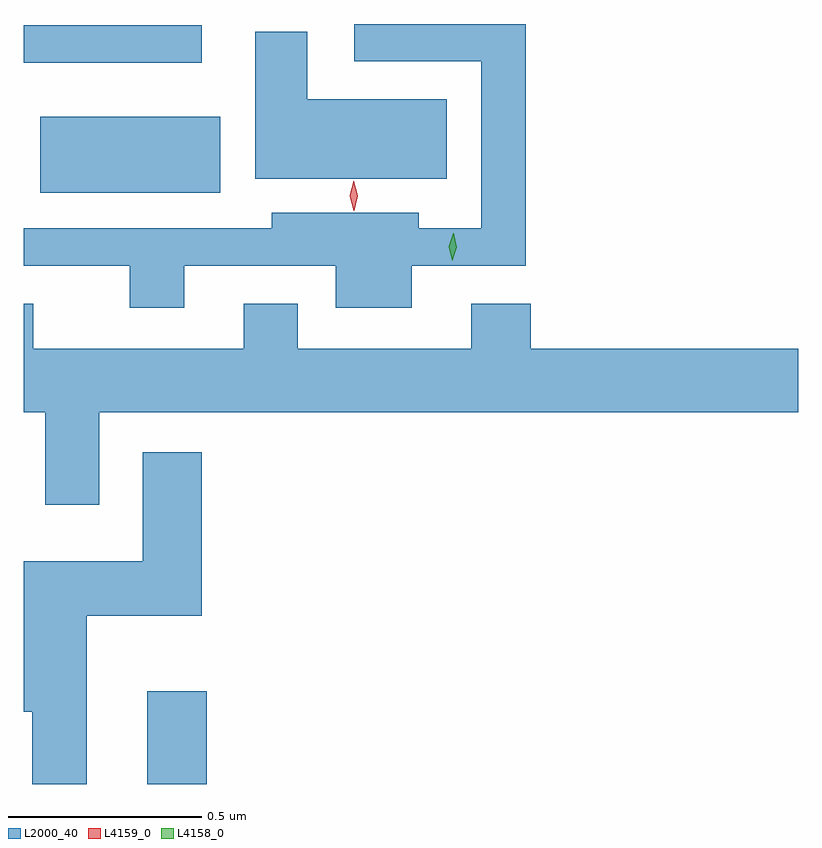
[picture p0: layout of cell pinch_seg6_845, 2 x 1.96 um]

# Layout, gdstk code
import gdstk
lib = gdstk.Library(unit=1e-6, precision=1e-09)
def R(c, l, rs):  # rectangles x0, y0, x1, y1
    for r in rs: c.add(gdstk.rectangle(r[:2], r[2:], *l))
def P(c, l, *ps):  # polygons
    for p in ps: c.add(gdstk.Polygon(p, *l))
L2000_40 = (2000, 40)
L4158_0 = (4158, 0)
L4159_0 = (4159, 0)

pinch_seg6_845 = lib.new_cell('pinch_seg6_845')
R(pinch_seg6_845, L2000_40, [(230.348,973.016,230.501,973.255), (230.072,974.543,230.536,974.74), (230.029,974.879,230.488,974.976)])
P(pinch_seg6_845, L2000_40, [(230.443,974.355),(230.834,974.355),(230.834,974.246),(231.031,974.246),(231.031,974.355),(231.326,974.355),(231.326,974.979),(230.883,974.979),(230.883,974.883),(231.21,974.883),(231.21,974.451),(231.049,974.451),(231.049,974.491),(230.669,974.491),(230.669,974.451),(230.029,974.451),(230.029,974.355),(230.303,974.355),(230.303,974.246),(230.443,974.246)],
  [(231.121,974.785),(230.761,974.785),(230.761,974.959),(230.627,974.959),(230.627,974.579),(231.121,974.579)],
  [(230.224,973.976),(232.029,973.976),(232.029,974.14),(231.338,974.14),(231.338,974.257),(231.185,974.257),(231.185,974.14),(230.737,974.14),(230.737,974.257),(230.597,974.257),(230.597,974.14),(230.053,974.14),(230.053,974.257),(230.029,974.257),(230.029,973.976),(230.084,973.976),(230.084,973.737),(230.224,973.737)],
  [(230.191,973.451),(230.489,973.451),(230.489,973.873),(230.336,973.873),(230.336,973.591),(230.029,973.591),(230.029,973.202),(230.051,973.202),(230.051,973.016),(230.191,973.016)])
P(pinch_seg6_845, L4158_0, [(231.135,974.368),(231.135,974.368),(231.127,974.404),(231.138,974.438),(231.138,974.438),(231.139,974.438),(231.147,974.403),(231.135,974.368)])
P(pinch_seg6_845, L4159_0, [(230.881,974.496),(230.871,974.535),(230.881,974.574),(230.881,974.574),(230.881,974.574),(230.891,974.535),(230.882,974.496),(230.882,974.496)])

lib.write_gds('pinch_seg6_845.gds')
